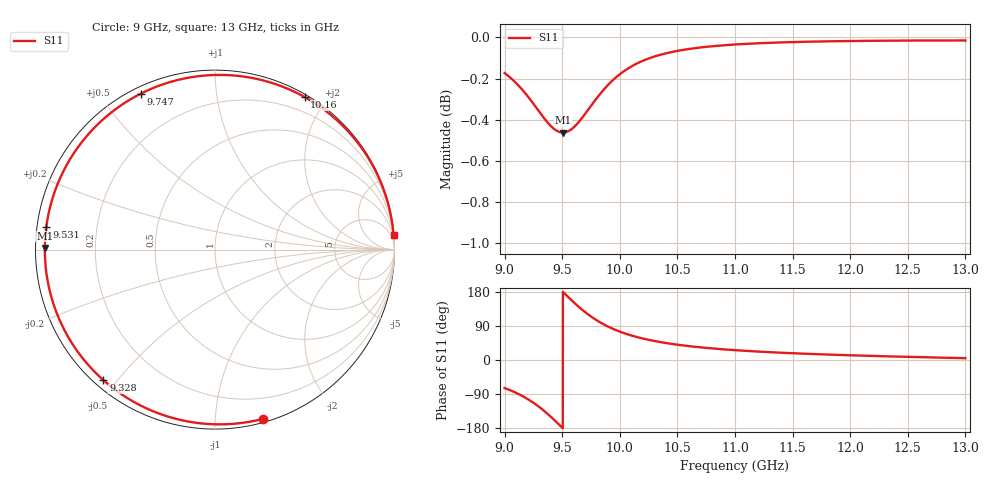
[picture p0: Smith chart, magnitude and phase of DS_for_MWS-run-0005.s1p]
! TOUCHSTONE file generated by CST DESIGN STUDIO
! Date and time: Tue Feb  4 14:05:37 2025
! Project name: C:\Work\MatlabApps\UnitCellOptimizationMatlab\CST\unitcell.cst
! Tree item: Tasks\Sweep1\SPara1\S-Parameters
! Header version: 2024
! Port assignment regex: !\s*Touchstone port\s*([0-9]+)\s*=\s*(CST MWS port|CST DES external port|CST DES block port)\s*(.+)\s* \(\"(.*)\"\)(\s*mode\s*([0-9]+))?.*
! Touchstone port assignment:
! Touchstone port 1 = CST DES external port 1 ("")
# GHz S MA R 50
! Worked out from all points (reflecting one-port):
!   4001 points, 9 GHz to 13 GHz, reference 50 ohm
!   lowest |S11| = -0.5 dB at 9.507 GHz (marker M1), VSWR 37.59, Z = 1.33 + j0.252 ohm
!   phase of S11 starts at -74 deg and turns -281 deg over the sweep
!   S11 on the Smith chart (normalised r, x): 9 GHz: 0.03, -1.32; 9.328 GHz: 0.03, -0.46; 9.531 GHz: 0.03, +0.07; 9.747 GHz: 0.03, +0.63; 10.16 GHz: 0.03, +1.75; 13 GHz: 0, +24
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9  0.9803 -74.1
9.087  0.9756 -84.9
9.19  0.9685 -101.2
9.262  0.9626 -115.3
9.328  0.957 -130.5
9.374  0.9534 -142.3
9.422  0.9505 -155.6
9.462  0.9488 -167.2
9.5  0.9482 -178.5
9.507  0.9482 179.4
9.531  0.9484 172.3
9.584  0.9501 156.8
9.644  0.9538 140.2
9.695  0.9578 127.3
9.747  0.9622 115.4
9.799  0.9665 104.9
9.856  0.9709 94.8
9.927  0.9756 84.1
10  0.9796 74.9
10.162  0.9859 59.5
10.316  0.9897 49.3
10.5  0.9925 40.4
10.722  0.9946 32.7
11  0.9961 25.9
11.5  0.9974 17.8
12  0.998 12.4
12.5  0.9983 8.3
13  0.9983 4.8
